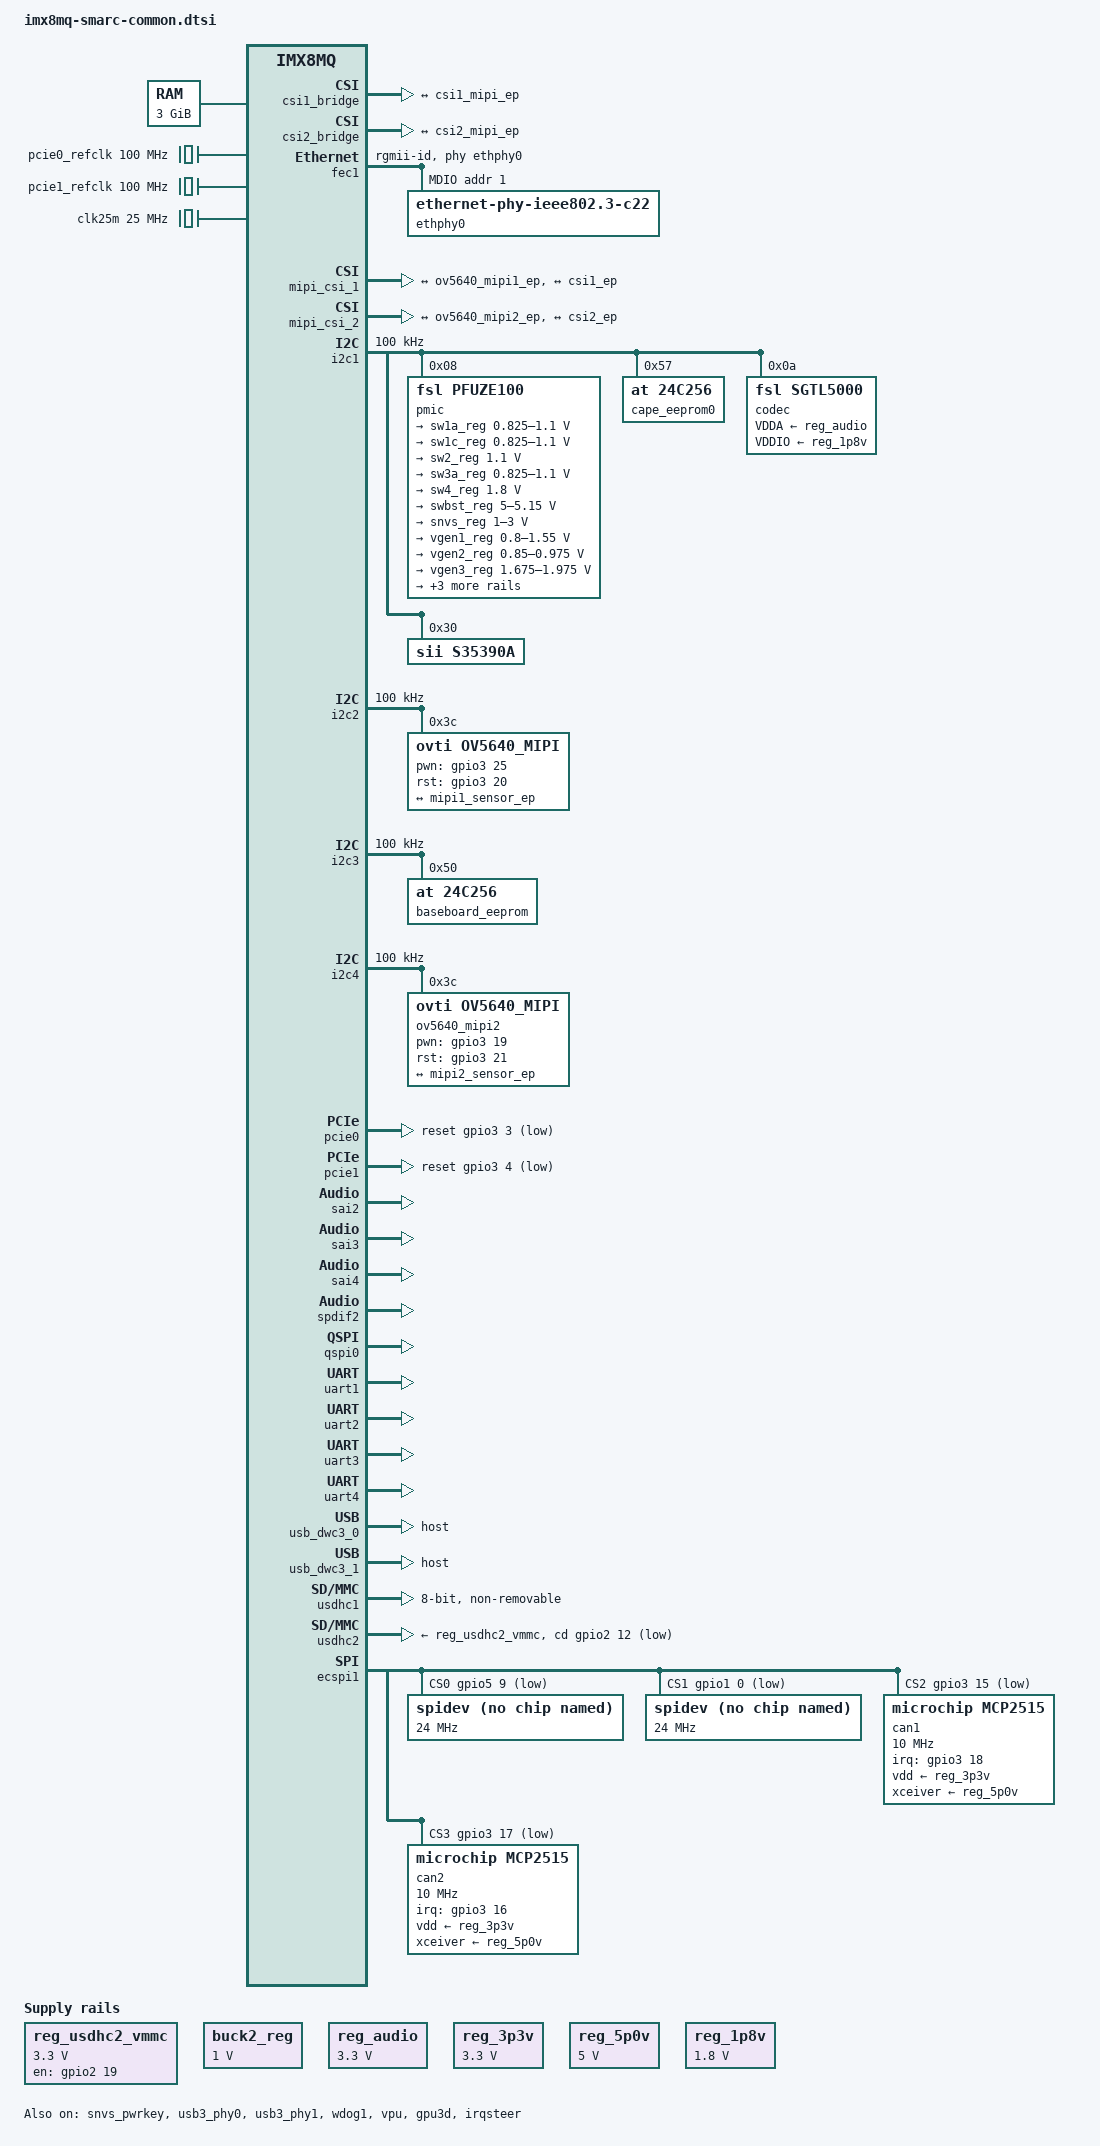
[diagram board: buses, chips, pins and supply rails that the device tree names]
// SPDX-License-Identifier: (GPL-2.0 OR MIT)
/*
 * Copyright 2017 NXP
 * Copyright 2022 Embedian, Inc.
 * Copyright (C) 2017-2018 Pengutronix, Lucas Stach <kernel@pengutronix.de>
 */

/dts-v1/;

#include <dt-bindings/usb/pd.h>
#include "../freescale/imx8mq.dtsi"

/ {
	compatible = "embedian,imx8mq-smarc", "fsl,imx8mq";

	memory@40000000 {
		device_type = "memory";
		reg = <0x00000000 0x40000000 0 0xc0000000>;
	};

	reserved-memory {
		#address-cells = <2>;
		#size-cells = <2>;
		ranges;

		rpmsg_reserved: rpmsg@0xb8000000 {
			no-map;
			reg = <0 0xb8000000 0 0x400000>;
		};
	};

	resmem: reserved-memory {
		#address-cells = <2>;
		#size-cells = <2>;
		ranges;

		/* cma region is provided by kernel command line as cma=<size>M */
	};

	pcie0_refclk: pcie0-refclk {
		compatible = "fixed-clock";
		#clock-cells = <0>;
		clock-frequency = <100000000>;
	};

	pcie1_refclk: pcie0-refclk {
		compatible = "fixed-clock";
		#clock-cells = <0>;
		clock-frequency = <100000000>;
	};

	reg_usdhc2_vmmc: regulator-vsd-3v3 {
		pinctrl-names = "default";
		pinctrl-0 = <&pinctrl_reg_usdhc2>;
		compatible = "regulator-fixed";
		regulator-name = "VSD_3V3";
		regulator-min-microvolt = <3300000>;
		regulator-max-microvolt = <3300000>;
		gpio = <&gpio2 19 GPIO_ACTIVE_HIGH>;
		off-on-delay-us = <20000>;
		enable-active-high;
	};

	buck2_reg: regulator-buck2 {
		pinctrl-names = "default";
		pinctrl-0 = <&pinctrl_buck2>;
		compatible = "regulator-gpio";
		regulator-name = "vdd_arm";
		regulator-min-microvolt = <1000000>;
		regulator-max-microvolt = <1000000>;
		gpios = <&gpio1 13 GPIO_ACTIVE_HIGH>;
		states = <1000000 0x0
			  900000 0x1>;
		regulator-boot-on;
		regulator-always-on;
	};

	reg_audio: audio_vdd {
		compatible = "regulator-fixed";
		regulator-name = "sgtl5000_supply";
		regulator-min-microvolt = <3300000>;
		regulator-max-microvolt = <3300000>;
		regulator-always-on;
	};

	reg_3p3v: 3p3v {
		compatible = "regulator-fixed";
		regulator-name = "3P3V";
		regulator-min-microvolt = <3300000>;
		regulator-max-microvolt = <3300000>;
		regulator-always-on;
	};

	reg_5p0v: 5p0v {
		compatible = "regulator-fixed";
		regulator-name = "5P0V";
		regulator-min-microvolt = <5000000>;
		regulator-max-microvolt = <5000000>;
		regulator-always-on;
	};

	reg_1p8v: 1p8v {
		compatible = "regulator-fixed";
		regulator-name = "1P8V";
		regulator-min-microvolt = <1800000>;
		regulator-max-microvolt = <1800000>;
		regulator-always-on;
	};

	sound-sgtl5000 {
		compatible = "simple-audio-card";
		simple-audio-card,name = "sgtl5000-audio";
		simple-audio-card,format = "i2s";
		simple-audio-card,widgets =
			"Microphone", "Microphone Jack",
			"Headphone", "Headphone Jack",
			"Speaker", "Speaker Ext",
			"Line", "Line In Jack";
		simple-audio-card,routing =
			"MIC_IN", "Microphone Jack",
			"Microphone Jack", "Mic Bias",
			"LINE_IN", "Line In Jack",
			"Headphone Jack", "HP_OUT",
			"Speaker Ext", "LINE_OUT";

		simple-audio-card,cpu {
			sound-dai = <&sai2>;
			frame-master;
			bitclock-master;
		};

		simple-audio-card,codec {
			sound-dai = <&codec>;
			frame-master;
			bitclock-master;
		};
	};

	sound-hdmi {
		compatible = "fsl,imx8mq-evk-cdnhdmi",
				"fsl,imx-audio-cdnhdmi";
		model = "imx-audio-hdmi";
		audio-cpu = <&sai4>;
		protocol = <1>;
		hdmi-out;
		constraint-rate = <44100>,
				<88200>,
				<176400>,
				<32000>,
				<48000>,
				<96000>,
				<192000>;
		status = "disabled";
	};

	sound-hdmi-arc {
		compatible = "fsl,imx-audio-spdif";
		model = "imx-hdmi-arc";
		spdif-controller = <&spdif2>;
		spdif-in;
	};

	backlight: backlight {
		compatible = "pwm-backlight";
		enable-gpios = <&gpio4 0 0>;    /* Backlight Enable */
		pwms = <&pwm1 0 1000000 0>;
		brightness-levels = < 0  1  2  3  4  5  6  7  8  9
				     10 11 12 13 14 15 16 17 18 19
				     20 21 22 23 24 25 26 27 28 29
				     30 31 32 33 34 35 36 37 38 39
				     40 41 42 43 44 45 46 47 48 49
				     50 51 52 53 54 55 56 57 58 59
				     60 61 62 63 64 65 66 67 68 69
				     70 71 72 73 74 75 76 77 78 79
				     80 81 82 83 84 85 86 87 88 89
				     90 91 92 93 94 95 96 97 98 99
				    100>;
		default-brightness-level = <80>;
		status = "disabled";
	};

	/* external oscillator of mcp2515 on SPI1.2 and SPI1.3 */
	clk25m: clock-25m {
		compatible = "fixed-clock";
		#clock-cells = <0>;
		clock-frequency  = <25000000>;
		clock-output-names = "clk25m";
	};
};

&A53_0 {
	cpu-supply = <&buck2_reg>;
};

&A53_1 {
	cpu-supply = <&buck2_reg>;
};

&A53_2 {
	cpu-supply = <&buck2_reg>;
};

&A53_3 {
	cpu-supply = <&buck2_reg>;
};

&csi1_bridge {
	fsl,mipi-mode;
	fsl,two-8bit-sensor-mode;
	status = "okay";

	port {
		csi1_ep: endpoint {
			remote-endpoint = <&csi1_mipi_ep>;
		};
	};
};

&csi2_bridge {
	fsl,mipi-mode;
	fsl,two-8bit-sensor-mode;
	status = "okay";

	port {
		csi2_ep: endpoint {
			remote-endpoint = <&csi2_mipi_ep>;
		};
	};
};

&ddrc {
	operating-points-v2 = <&ddrc_opp_table>;

	ddrc_opp_table: opp-table {
		compatible = "operating-points-v2";

		opp-25M {
			opp-hz = /bits/ 64 <25000000>;
		};

		opp-100M {
			opp-hz = /bits/ 64 <100000000>;
		};

		/*
		 * On imx8mq B0 PLL can't be bypassed so low bus is 166M
		 */
		opp-166M {
			opp-hz = /bits/ 64 <166935483>;
		};

		opp-800M {
			opp-hz = /bits/ 64 <800000000>;
		};
	};
};

&fec1 {
	pinctrl-names = "default";
	pinctrl-0 = <&pinctrl_fec1>;
	phy-mode = "rgmii-id";
	phy-handle = <&ethphy0>;
	fsl,magic-packet;
	status = "okay";

	mdio {
		#address-cells = <1>;
		#size-cells = <0>;

		ethphy0: ethernet-phy@0 {
			compatible = "ethernet-phy-ieee802.3-c22";
			reg = <1>;
			at803x,eee-disabled;
		};
	};
};

&mipi_csi_1 {
	#address-cells = <1>;
	#size-cells = <0>;
	status = "okay";
	port {
		mipi1_sensor_ep: endpoint@0 {
			remote-endpoint = <&ov5640_mipi1_ep>;
			data-lanes = <1 2>;
			bus-type = <4>;
		};

		csi1_mipi_ep: endpoint@1 {
			remote-endpoint = <&csi1_ep>;
		};
	};
};

&mipi_csi_2 {
	#address-cells = <1>;
	#size-cells = <0>;
	status = "okay";
	port {
		mipi2_sensor_ep: endpoint@0 {
			remote-endpoint = <&ov5640_mipi2_ep>;
			data-lanes = <1 2>;
			bus-type = <4>;
		};

		csi2_mipi_ep: endpoint@1 {
			remote-endpoint = <&csi2_ep>;
		};
	};
};

&i2c1 {
	clock-frequency = <100000>;
	pinctrl-names = "default";
	pinctrl-0 = <&pinctrl_i2c1>;
	status = "okay";

	pmic@8 {
		compatible = "fsl,pfuze100";
		fsl,pfuze-support-disable-sw;
		reg = <0x8>;

		regulators {
			sw1a_reg: sw1ab {
				regulator-min-microvolt = <825000>;
				regulator-max-microvolt = <1100000>;
			};

			sw1c_reg: sw1c {
				regulator-min-microvolt = <825000>;
				regulator-max-microvolt = <1100000>;
			};

			sw2_reg: sw2 {
				regulator-min-microvolt = <1100000>;
				regulator-max-microvolt = <1100000>;
				regulator-always-on;
			};

			sw3a_reg: sw3ab {
				regulator-min-microvolt = <825000>;
				regulator-max-microvolt = <1100000>;
				regulator-always-on;
			};

			sw4_reg: sw4 {
				regulator-min-microvolt = <1800000>;
				regulator-max-microvolt = <1800000>;
				regulator-always-on;
			};

			swbst_reg: swbst {
				regulator-min-microvolt = <5000000>;
				regulator-max-microvolt = <5150000>;
			};

			snvs_reg: vsnvs {
				regulator-min-microvolt = <1000000>;
				regulator-max-microvolt = <3000000>;
				regulator-always-on;
			};

			vref_reg: vrefddr {
				regulator-always-on;
			};

			vgen1_reg: vgen1 {
				regulator-min-microvolt = <800000>;
				regulator-max-microvolt = <1550000>;
			};

			vgen2_reg: vgen2 {
				regulator-min-microvolt = <850000>;
				regulator-max-microvolt = <975000>;
				regulator-always-on;
			};

			vgen3_reg: vgen3 {
				regulator-min-microvolt = <1675000>;
				regulator-max-microvolt = <1975000>;
				regulator-always-on;
			};

			vgen4_reg: vgen4 {
				regulator-min-microvolt = <1625000>;
				regulator-max-microvolt = <1875000>;
				regulator-always-on;
			};

			vgen5_reg: vgen5 {
				regulator-min-microvolt = <3075000>;
				regulator-max-microvolt = <3625000>;
				regulator-always-on;
			};

			vgen6_reg: vgen6 {
				regulator-min-microvolt = <1800000>;
				regulator-max-microvolt = <3300000>;
			};
		};
	};

	cape_eeprom0: cape_eeprom@57 {
		compatible = "at,24c256";
		reg = <0x57>;
	};

	codec: sgtl5000@a {
		compatible = "fsl,sgtl5000";
		#sound-dai-cells = <0>;
		reg = <0x0a>;
		clocks = <&clk IMX8MQ_CLK_SAI2_ROOT>;
		clock-names = "mclk";
		VDDA-supply = <&reg_audio>;
		VDDIO-supply = <&reg_1p8v>;
		status = "okay";
	};

	s35390a: s35390a@30 {
		compatible = "sii,s35390a";
		reg = <0x30>;
		status = "okay";
	};
};

&i2c2 {
	clock-frequency = <100000>;
	pinctrl-names = "default";
	pinctrl-0 = <&pinctrl_i2c2>;
	status = "okay";

	dsi_lvds_bridge: sn65dsi84@2c {
		status = "disabled";
		reg = <0x2c>;
		compatible = "ti,sn65dsi84";
		enable-gpios = <&gpio4 28 GPIO_ACTIVE_HIGH>;
		interrupt-parent = <&gpio4>;
		interrupts = <29 IRQ_TYPE_EDGE_FALLING>;

		/* AUO G070VW01 7-inch 800x480 LVDS Display */
		sn65dsi84,addresses = < 0x09 0x0A 0x0B 0x0D 0x10 0x11 0x12 0x13
					0x18 0x19 0x1A 0x1B 0x20 0x21 0x22 0x23
					0x24 0x25 0x26 0x27 0x28 0x29 0x2A 0x2B
					0x2C 0x2D 0x2E 0x2F 0x30 0x31 0x32 0x33
					0x34 0x35 0x36 0x37 0x38 0x39 0x3A 0x3B
					0x3C 0x3D 0x3E 0xE0 0x0D>;

		sn65dsi84,values =    < 0x00 0x01 0x10 0x00 0x26 0x00 0x13 0x00
					0x78 0x00 0x03 0x00 0x20 0x03 0x00 0x00
					0x00 0x00 0x00 0x00 0x21 0x00 0x00 0x00
					0x80 0x00 0x00 0x00 0x0e 0x00 0x00 0x00
					0x40 0x00 0x00 0x00 0x00 0x00 0x00 0x00
					0x00 0x00 0x00 0x01 0x01>;

		/* AUO G185XW01 18.5-inch 1366x768 LVDS Display */
		/*sn65dsi84,addresses = < 0x09 0x0A 0x0B 0x0D 0x10 0x11 0x12 0x13
					0x18 0x19 0x1A 0x1B 0x20 0x21 0x22 0x23
					0x24 0x25 0x26 0x27 0x28 0x29 0x2A 0x2B
					0x2C 0x2D 0x2E 0x2F 0x30 0x31 0x32 0x33
					0x34 0x35 0x36 0x37 0x38 0x39 0x3A 0x3B
					0x3C 0x3D 0x3E 0xE0 0x0D>;

		sn65dsi84,values =    < 0x00 0x05 0x10 0x00 0x26 0x00 0x2E 0x00
					0x78 0x00 0x03 0x00 0x56 0x05 0x00 0x00
					0x00 0x00 0x00 0x00 0x21 0x00 0x00 0x00
					0x78 0x00 0x00 0x00 0x12 0x00 0x00 0x00
					0x3C 0x00 0x00 0x00 0x00 0x00 0x00 0x00
					0x00 0x00 0x00 0x01 0x01>;*/

		/* AUO G240HW01 V0 24-inch 1920x1080 LVDS Display */
		/*sn65dsi84,addresses = < 0x09 0x0A 0x0B 0x0D 0x10 0x11 0x12 0x13
					0x18 0x19 0x1A 0x1B 0x20 0x21 0x22 0x23
					0x24 0x25 0x26 0x27 0x28 0x29 0x2A 0x2B
					0x2C 0x2D 0x2E 0x2F 0x30 0x31 0x32 0x33
					0x34 0x35 0x36 0x37 0x38 0x39 0x3A 0x3B
					0x3C 0x3D 0x3E 0xE0 0x0D>;

		sn65dsi84,values =    < 0x00 0x05 0x20 0x00 0x26 0x00 0x4E 0x00
					0x6C 0x00 0x03 0x00 0x80 0x07 0x00 0x00
					0x00 0x00 0x00 0x00 0xC3 0x00 0x00 0x00
					0x32 0x00 0x00 0x00 0x14 0x00 0x00 0x00
					0x19 0x00 0x00 0x00 0x00 0x00 0x00 0x00
					0x00 0x00 0x00 0x01 0x01>;*/
	};

	ov5640_mipi: ov5640_mipi@3c {
		compatible = "ovti,ov5640_mipi";
		reg = <0x3c>;
		status = "okay";
		pinctrl-names = "default";
		pinctrl-0 = <&pinctrl_csi1>;
		clocks = <&clk IMX8MQ_CLK_CLKO2>;
		clock-names = "csi_mclk";
		assigned-clocks = <&clk IMX8MQ_CLK_CLKO2>;
		assigned-clock-parents = <&clk IMX8MQ_SYS2_PLL_200M>;
		assigned-clock-rates = <20000000>;
		csi_id = <0>;
		pwn-gpios = <&gpio3 25 GPIO_ACTIVE_HIGH>;	/*GPIO0*/
		rst-gpios = <&gpio3 20 GPIO_ACTIVE_HIGH>;	/*GPIO2*/
		mclk = <20000000>;
		mclk_source = <0>;
		port {
			ov5640_mipi1_ep: endpoint {
				remote-endpoint = <&mipi1_sensor_ep>;
			};
		};
	};
};

&i2c3 {
	clock-frequency = <100000>;
	pinctrl-names = "default";
	pinctrl-0 = <&pinctrl_i2c3>;
	status = "okay";

	baseboard_eeprom: baseboard_eeprom@50 {
		compatible = "at,24c256";
		reg = <0x50>;
	};
};

&i2c4 {
	clock-frequency = <100000>;
	pinctrl-names = "default";
	pinctrl-0 = <&pinctrl_i2c4>;
	status = "okay";

	ov5640_mipi2: ov5640_mipi2@3c {
		compatible = "ovti,ov5640_mipi";
		reg = <0x3c>;
		status = "okay";
		pinctrl-names = "default";
		pinctrl-0 = <&pinctrl_csi2>;
		clocks = <&clk IMX8MQ_CLK_CLKO2>;
		clock-names = "csi_mclk";
		assigned-clocks = <&clk IMX8MQ_CLK_CLKO2>;
		assigned-clock-parents = <&clk IMX8MQ_SYS2_PLL_200M>;
		assigned-clock-rates = <20000000>;
		csi_id = <1>;
		pwn-gpios = <&gpio3 19 GPIO_ACTIVE_HIGH>;	/*GPIO1*/
		rst-gpios = <&gpio3 21 GPIO_ACTIVE_HIGH>;	/*GPIO3*/
		mclk = <20000000>;
		mclk_source = <0>;
		port {
			ov5640_mipi2_ep: endpoint {
			remote-endpoint = <&mipi2_sensor_ep>;
			};
		};
	};
};

&pcie0 {
	pinctrl-names = "default";
	pinctrl-0 = <&pinctrl_pcie0>;
	reset-gpio = <&gpio3 3 GPIO_ACTIVE_LOW>;
	clocks = <&clk IMX8MQ_CLK_PCIE1_ROOT>,
		 <&clk IMX8MQ_CLK_PCIE1_AUX>,
		 <&clk IMX8MQ_CLK_PCIE1_PHY>,
		 <&pcie0_refclk>;
	clock-names = "pcie", "pcie_aux", "pcie_phy", "pcie_bus";
	assigned-clocks = <&clk IMX8MQ_CLK_PCIE1_AUX>;
	assigned-clock-rates = <10000000>;
	assigned-clock-parents = <&clk IMX8MQ_SYS2_PLL_50M>;
	hard-wired = <1>;
	status = "okay";
};

&pcie1 {
	pinctrl-names = "default";
	pinctrl-0 = <&pinctrl_pcie1>;
	reset-gpio = <&gpio3 4 GPIO_ACTIVE_LOW>;
	clocks = <&clk IMX8MQ_CLK_PCIE2_ROOT>,
		 <&clk IMX8MQ_CLK_PCIE2_AUX>,
		 <&clk IMX8MQ_CLK_PCIE2_PHY>,
		 <&pcie1_refclk>;
	clock-names = "pcie", "pcie_aux", "pcie_phy", "pcie_bus";
	assigned-clocks = <&clk IMX8MQ_CLK_PCIE2_AUX>;
	assigned-clock-rates = <10000000>;
	assigned-clock-parents = <&clk IMX8MQ_SYS2_PLL_50M>;
	status = "okay";
};

&pgc_gpu {
	power-supply = <&sw1a_reg>;
};

&pgc_vpu {
	power-supply = <&sw1c_reg>;
};



&sai2 {
	pinctrl-names = "default";
	pinctrl-0 = <&pinctrl_sai2>;
	assigned-clocks = <&clk IMX8MQ_CLK_SAI2>;
	assigned-clock-parents = <&clk IMX8MQ_AUDIO_PLL1_OUT>;
	assigned-clock-rates = <24576000>;
	status = "okay";
};

&sai3 {
	#sound-dai-cells = <0>;
	pinctrl-names = "default";
	pinctrl-0 = <&pinctrl_sai3>;
	assigned-clocks = <&clk IMX8MQ_CLK_SAI3>;
	assigned-clock-parents = <&clk IMX8MQ_AUDIO_PLL1_OUT>;
	assigned-clock-rates = <24576000>;
	status = "okay";
};

&sai4 {
	assigned-clocks = <&clk IMX8MQ_CLK_SAI4>;
	assigned-clock-parents = <&clk IMX8MQ_AUDIO_PLL1_OUT>;
	assigned-clock-rates = <24576000>;
	clocks = <&clk IMX8MQ_CLK_SAI4_IPG>, <&clk IMX8MQ_CLK_DUMMY>,
		<&clk IMX8MQ_CLK_SAI4_ROOT>, <&clk IMX8MQ_CLK_DUMMY>,
		<&clk IMX8MQ_CLK_DUMMY>, <&clk IMX8MQ_AUDIO_PLL1_OUT>,
		<&clk IMX8MQ_AUDIO_PLL2_OUT>;
	clock-names = "bus", "mclk0", "mclk1", "mclk2", "mclk3", "pll8k", "pll11k";
	status = "okay";
};

&snvs_pwrkey {
	status = "okay";
};

&spdif2 {
	assigned-clocks = <&clk IMX8MQ_CLK_SPDIF2>;
	assigned-clock-parents = <&clk IMX8MQ_AUDIO_PLL1_OUT>;
	assigned-clock-rates = <24576000>;
	status = "okay";
};

&qspi0 {
	pinctrl-names = "default";
	pinctrl-0 = <&pinctrl_qspi>;
	status = "okay";
};

/* SER3 */
&uart1 {
	pinctrl-names = "default";
	pinctrl-0 = <&pinctrl_uart1>;
	assigned-clocks = <&clk IMX8MQ_CLK_UART1>;
	assigned-clock-parents = <&clk IMX8MQ_CLK_25M>;
	status = "okay";
};

/* SER2 */
&uart2 {
	pinctrl-names = "default";
	pinctrl-0 = <&pinctrl_uart2>;
	assigned-clocks = <&clk IMX8MQ_CLK_UART2>;
	assigned-clock-parents = <&clk IMX8MQ_SYS1_PLL_80M>;
	fsl,uart-has-rtscts;
	status = "okay";
};

/* SER1 */
&uart3 {
	pinctrl-names = "default";
	pinctrl-0 = <&pinctrl_uart3>;
	assigned-clocks = <&clk IMX8MQ_CLK_UART3>;
	assigned-clock-parents = <&clk IMX8MQ_CLK_25M>;
	status = "okay";
};

/* SER0 */
&uart4 {
	pinctrl-names = "default";
	pinctrl-0 = <&pinctrl_uart4>;
	assigned-clocks = <&clk IMX8MQ_CLK_UART4>;
	assigned-clock-parents = <&clk IMX8MQ_SYS1_PLL_80M>;
	fsl,uart-has-rtscts;
	status = "okay";
};

&usb3_phy0 {
	status = "okay";
};

&usb_dwc3_0 {
	dr_mode = "host";
	status = "okay";
};

&usb3_phy1 {
	status = "okay";
};

&usb_dwc3_1 {
	dr_mode = "host";
	status = "okay";
};

/* eMMC */
&usdhc1 {
	assigned-clocks = <&clk IMX8MQ_CLK_USDHC1>;
	assigned-clock-rates = <400000000>;
	pinctrl-names = "default", "state_100mhz", "state_200mhz";
	pinctrl-0 = <&pinctrl_usdhc1>;
	pinctrl-1 = <&pinctrl_usdhc1_100mhz>;
	pinctrl-2 = <&pinctrl_usdhc1_200mhz>;
	vqmmc-supply = <&sw4_reg>;
	bus-width = <8>;
	non-removable;
	no-sd;
	no-sdio;
	status = "okay";
};

/* SD card */
&usdhc2 {
	assigned-clocks = <&clk IMX8MQ_CLK_USDHC2>;
	assigned-clock-rates = <200000000>;
	pinctrl-names = "default";
	pinctrl-0 = <&pinctrl_usdhc2>;
	cd-gpios = <&gpio2 12 GPIO_ACTIVE_LOW>;
	vmmc-supply = <&reg_usdhc2_vmmc>;
	status = "okay";
};

&ecspi1 {
	pinctrl-names = "default";
	pinctrl-0 = <&pinctrl_ecspi1>;
	cs-gpios = <&gpio5 9 GPIO_ACTIVE_LOW>,
		   <&gpio1 0 GPIO_ACTIVE_LOW>,
		   <&gpio3 15 GPIO_ACTIVE_LOW>,
		   <&gpio3 17 GPIO_ACTIVE_LOW>;
	fsl,spi-num-chipselects = <4>;
	status = "okay";

	spidev@0 {
		compatible = "rohm,dh2228fv";
		reg = <0>;
		spi-max-frequency = <24000000>;
	};

	spidev@1 {
		compatible = "rohm,dh2228fv";
		reg = <1>;
		spi-max-frequency = <24000000>;
	};

	can1: can@2 {
		compatible = "microchip,mcp2515";
		reg = <2>;
		pinctrl-names = "default";
		pinctrl-0 = <&pinctrl_can1>;
		interrupt-parent = <&gpio3>;
		interrupts = <18 IRQ_TYPE_EDGE_FALLING>;
		spi-max-frequency = <10000000>;
		clocks = <&clk25m>;
		vdd-supply = <&reg_3p3v>;
		xceiver-supply = <&reg_5p0v>;
		status = "okay";
	};

	can2: can@3 {
		compatible = "microchip,mcp2515";
		reg = <3>;
		pinctrl-names = "default";
		pinctrl-0 = <&pinctrl_can2>;
		interrupt-parent = <&gpio3>;
		interrupts = <16 IRQ_TYPE_EDGE_FALLING>;
		spi-max-frequency = <10000000>;
		clocks = <&clk25m>;
		vdd-supply = <&reg_3p3v>;
		xceiver-supply = <&reg_5p0v>;
		status = "okay";
	};
};

&pwm1 {
	pinctrl-names = "default";
	pinctrl-0 = <&pinctrl_pwm1>;
};

&wdog1 {
	pinctrl-names = "default";
	pinctrl-0 = <&pinctrl_wdog>;
	fsl,ext-reset-output;
	status = "okay";
};

&iomuxc {
	pinctrl-names = "default";
	pinctrl-0 = <&pinctrl_hog>;

	pinctrl_hog: hoggrp {
		fsl,pins = <
			MX8MQ_IOMUXC_GPIO1_IO03_GPIO1_IO3		0x19	/*RESET_OUT#*/
			MX8MQ_IOMUXC_GPIO1_IO11_GPIO1_IO11		0x41	/*FEC_IRQ#*/
			MX8MQ_IOMUXC_NAND_CLE_GPIO3_IO5			0x41	/*PCIE_WAKE#*/
			MX8MQ_IOMUXC_GPIO1_IO09_GPIO1_IO9		0x41	/*LID#*/
			MX8MQ_IOMUXC_GPIO1_IO12_GPIO1_IO12		0x41	/*SLEEP#*/
			MX8MQ_IOMUXC_NAND_DATA05_GPIO3_IO11		0x41	/*CHARGING#*/
			MX8MQ_IOMUXC_SAI2_RXC_GPIO4_IO22		0x41	/*CHARGER_PRSNT#*/
			MX8MQ_IOMUXC_SAI3_MCLK_GPIO5_IO2		0x19	/*CARRIER_STBY#*/
			MX8MQ_IOMUXC_SAI2_RXFS_GPIO4_IO21		0x41	/*BATLOW#*/
			MX8MQ_IOMUXC_NAND_DATA04_GPIO3_IO10		0x41	/*USB0_EN_OC#*/
			MX8MQ_IOMUXC_NAND_DATA06_GPIO3_IO12		0x41	/*USB2_EN_OC#*/
			MX8MQ_IOMUXC_NAND_DATA07_GPIO3_IO13		0x41	/*USB3_EN_OC#*/
		>;
	};

	pinctrl_buck2: vddarmgrp {
		fsl,pins = <
			MX8MQ_IOMUXC_GPIO1_IO13_GPIO1_IO13		0x19
		>;

	};

	pinctrl_csi1_pwn: csi1_pwn_grp {
		fsl,pins = <
			MX8MQ_IOMUXC_GPIO1_IO03_GPIO1_IO3		0x19
		>;
	};
	pinctrl_csi2_pwn: csi2_pwn_grp {
		fsl,pins = <
			MX8MQ_IOMUXC_GPIO1_IO05_GPIO1_IO5		0x19
		>;
	};

	pinctrl_csi_rst: csi_rst_grp {
		fsl,pins = <
			MX8MQ_IOMUXC_GPIO1_IO06_GPIO1_IO6		0x19
			MX8MQ_IOMUXC_GPIO1_IO15_CCMSRCGPCMIX_CLKO2	0x59
		>;
	};

	pinctrl_csi1: csi1grp {
		fsl,pins = <
			MX8MQ_IOMUXC_SAI5_MCLK_GPIO3_IO25		0x19	/*GPIO0*/
			MX8MQ_IOMUXC_SAI5_RXC_GPIO3_IO20		0x19	/*GPIO2*/
			MX8MQ_IOMUXC_GPIO1_IO15_CCMSRCGPCMIX_CLKO2	0x59
		>;
	};

	pinctrl_csi2: csi2grp {
		fsl,pins = <
			MX8MQ_IOMUXC_SAI5_RXFS_GPIO3_IO19		0x19	/*GPIO1*/
			MX8MQ_IOMUXC_SAI5_RXD0_GPIO3_IO21		0x19	/*GPIO3*/
			MX8MQ_IOMUXC_GPIO1_IO15_CCMSRCGPCMIX_CLKO2	0x59
		>;
	};

	pinctrl_fec1: fec1grp {
		fsl,pins = <
			MX8MQ_IOMUXC_ENET_MDC_ENET1_MDC			0x3
			MX8MQ_IOMUXC_ENET_MDIO_ENET1_MDIO		0x23
			MX8MQ_IOMUXC_ENET_TD3_ENET1_RGMII_TD3		0x1f
			MX8MQ_IOMUXC_ENET_TD2_ENET1_RGMII_TD2		0x1f
			MX8MQ_IOMUXC_ENET_TD1_ENET1_RGMII_TD1		0x1f
			MX8MQ_IOMUXC_ENET_TD0_ENET1_RGMII_TD0		0x1f
			MX8MQ_IOMUXC_ENET_RD3_ENET1_RGMII_RD3		0x91
			MX8MQ_IOMUXC_ENET_RD2_ENET1_RGMII_RD2		0x91
			MX8MQ_IOMUXC_ENET_RD1_ENET1_RGMII_RD1		0x91
			MX8MQ_IOMUXC_ENET_RD0_ENET1_RGMII_RD0		0x91
			MX8MQ_IOMUXC_ENET_TXC_ENET1_RGMII_TXC		0x1f
			MX8MQ_IOMUXC_ENET_RXC_ENET1_RGMII_RXC		0x91
			MX8MQ_IOMUXC_ENET_RX_CTL_ENET1_RGMII_RX_CTL	0x91
			MX8MQ_IOMUXC_ENET_TX_CTL_ENET1_RGMII_TX_CTL	0x1f
		>;
	};

	pinctrl_i2c1: i2c1grp {
		fsl,pins = <
			MX8MQ_IOMUXC_I2C1_SCL_I2C1_SCL			0x4000007f
			MX8MQ_IOMUXC_I2C1_SDA_I2C1_SDA			0x4000007f
		>;
	};

	pinctrl_ir: irgrp {
		fsl,pins = <
			MX8MQ_IOMUXC_GPIO1_IO12_GPIO1_IO12		0x4f
		>;
	};

	pinctrl_i2c3: i2c3grp {
		fsl,pins = <
			MX8MQ_IOMUXC_I2C3_SCL_I2C3_SCL			0x4000007f
			MX8MQ_IOMUXC_I2C3_SDA_I2C3_SDA			0x4000007f
		>;
	};

	pinctrl_i2c1_dsi_ts_int: dsi_ts_int {
		fsl,pins = <
			MX8MQ_IOMUXC_ECSPI1_MOSI_GPIO5_IO7		0x19
		>;
	};

	pinctrl_i2c2: i2c2grp {
		fsl,pins = <
			MX8MQ_IOMUXC_I2C2_SCL_I2C2_SCL			0x40000067
			MX8MQ_IOMUXC_I2C2_SDA_I2C2_SDA			0x40000067
		>;
	};

	pinctrl_i2c4: i2c4grp {
		fsl,pins = <
			MX8MQ_IOMUXC_I2C4_SCL_I2C4_SCL			0x4000007f
			MX8MQ_IOMUXC_I2C4_SDA_I2C4_SDA			0x4000007f
		>;
	};

	pinctrl_i2c1_gpio: i2c1grp-gpio {
		fsl,pins = <
			MX8MQ_IOMUXC_I2C1_SCL_GPIO5_IO14		0x7f
			MX8MQ_IOMUXC_I2C1_SDA_GPIO5_IO15		0x7f
		>;
	};

	pinctrl_i2c2_gpio: i2c2grp-gpio {
		fsl,pins = <
			MX8MQ_IOMUXC_I2C2_SCL_GPIO5_IO16		0x7f
			MX8MQ_IOMUXC_I2C2_SDA_GPIO5_IO17		0x7f
		>;
	};

	pinctrl_i2c3_gpio: i2c3grp-gpio {
		fsl,pins = <
			MX8MQ_IOMUXC_I2C3_SCL_GPIO5_IO18		0x7f
			MX8MQ_IOMUXC_I2C3_SDA_GPIO5_IO19		0x7f
		>;
	};

	pinctrl_i2c4_gpio: i2c4grp-gpio {
		fsl,pins = <
			MX8MQ_IOMUXC_I2C4_SCL_GPIO5_IO20		0x7f
			MX8MQ_IOMUXC_I2C4_SDA_GPIO5_IO21		0x7f
		>;
	};

	pinctrl_pcie0: pcie0grp {
		fsl,pins = <
			MX8MQ_IOMUXC_NAND_CE2_B_GPIO3_IO3		0x16
		>;
	};

	pinctrl_pcie1: pcie1grp {
		fsl,pins = <
			MX8MQ_IOMUXC_NAND_CE3_B_GPIO3_IO4		0x16
		>;
	};

	pinctrl_qspi: qspigrp {
		fsl,pins = <
			MX8MQ_IOMUXC_NAND_ALE_QSPI_A_SCLK		0x82
			MX8MQ_IOMUXC_NAND_CE0_B_QSPI_A_SS0_B		0x82
			MX8MQ_IOMUXC_NAND_DATA00_QSPI_A_DATA0		0x82
			MX8MQ_IOMUXC_NAND_DATA01_QSPI_A_DATA1		0x82
			MX8MQ_IOMUXC_NAND_DATA02_QSPI_A_DATA2		0x82
			MX8MQ_IOMUXC_NAND_DATA03_QSPI_A_DATA3		0x82
		>;
	};

	pinctrl_reg_usdhc2: regusdhc2gpiogrp {
		fsl,pins = <
			MX8MQ_IOMUXC_SD2_RESET_B_GPIO2_IO19		0x41
		>;
	};

	pinctrl_sai2: sai2grp {
		fsl,pins = <
			MX8MQ_IOMUXC_SAI2_TXFS_SAI2_TX_SYNC		0xd6
			MX8MQ_IOMUXC_SAI2_TXC_SAI2_TX_BCLK		0xd6
			MX8MQ_IOMUXC_SAI2_MCLK_SAI2_MCLK		0xd6
			MX8MQ_IOMUXC_SAI2_TXD0_SAI2_TX_DATA0		0xd6
		>;
	};

	pinctrl_sai3: sai3grp {
		fsl,pins = <
			MX8MQ_IOMUXC_SAI3_TXFS_SAI3_TX_SYNC     0xd6
			MX8MQ_IOMUXC_SAI3_TXC_SAI3_TX_BCLK      0xd6
			MX8MQ_IOMUXC_SAI3_TXD_SAI3_TX_DATA0	0xd6
			MX8MQ_IOMUXC_SAI3_RXD_SAI3_RX_DATA0	0xd6
		>;
	};

	pinctrl_sai1_pcm: sai1grp_pcm {
		fsl,pins = <
			MX8MQ_IOMUXC_SAI1_MCLK_SAI1_MCLK		0xd6
			MX8MQ_IOMUXC_SAI1_TXFS_SAI1_TX_SYNC		0xd6
			MX8MQ_IOMUXC_SAI1_RXD7_SAI1_TX_SYNC		0xd6
			MX8MQ_IOMUXC_SAI1_TXC_SAI1_TX_BCLK		0xd6
			MX8MQ_IOMUXC_SAI1_TXD0_SAI1_TX_DATA0		0xd6
			MX8MQ_IOMUXC_SAI1_TXD1_SAI1_TX_DATA1		0xd6
			MX8MQ_IOMUXC_SAI1_TXD2_SAI1_TX_DATA2		0xd6
			MX8MQ_IOMUXC_SAI1_TXD3_SAI1_TX_DATA3		0xd6
			MX8MQ_IOMUXC_SAI1_TXD4_SAI1_TX_DATA4		0xd6
			MX8MQ_IOMUXC_SAI1_TXD5_SAI1_TX_DATA5		0xd6
			MX8MQ_IOMUXC_SAI1_TXD6_SAI1_TX_DATA6		0xd6
			MX8MQ_IOMUXC_SAI1_TXD7_SAI1_TX_DATA7		0xd6
		>;
	};

	pinctrl_sai1_pcm_b2m: sai1grp_pcm_b2m {
		fsl,pins = <
			MX8MQ_IOMUXC_SAI1_MCLK_SAI1_TX_BCLK		0xd6
			MX8MQ_IOMUXC_SAI1_TXFS_SAI1_TX_SYNC		0xd6
			MX8MQ_IOMUXC_SAI1_RXD7_SAI1_TX_SYNC		0xd6
			MX8MQ_IOMUXC_SAI1_TXC_SAI1_TX_BCLK		0xd6
			MX8MQ_IOMUXC_SAI1_TXD0_SAI1_TX_DATA0		0xd6
			MX8MQ_IOMUXC_SAI1_TXD1_SAI1_TX_DATA1		0xd6
			MX8MQ_IOMUXC_SAI1_TXD2_SAI1_TX_DATA2		0xd6
			MX8MQ_IOMUXC_SAI1_TXD3_SAI1_TX_DATA3		0xd6
			MX8MQ_IOMUXC_SAI1_TXD4_SAI1_TX_DATA4		0xd6
			MX8MQ_IOMUXC_SAI1_TXD5_SAI1_TX_DATA5		0xd6
			MX8MQ_IOMUXC_SAI1_TXD6_SAI1_TX_DATA6		0xd6
			MX8MQ_IOMUXC_SAI1_TXD7_SAI1_TX_DATA7		0xd6
		>;
	};

	pinctrl_sai1_dsd: sai1grp_dsd {
		fsl,pins = <
			MX8MQ_IOMUXC_SAI1_MCLK_SAI1_MCLK		0xd6
			MX8MQ_IOMUXC_SAI1_TXFS_SAI1_TX_SYNC		0xd6
			MX8MQ_IOMUXC_SAI1_RXD7_SAI1_TX_DATA4		0xd6
			MX8MQ_IOMUXC_SAI1_TXC_SAI1_TX_BCLK		0xd6
			MX8MQ_IOMUXC_SAI1_TXD0_SAI1_TX_DATA0		0xd6
			MX8MQ_IOMUXC_SAI1_TXD1_SAI1_TX_DATA1		0xd6
			MX8MQ_IOMUXC_SAI1_TXD2_SAI1_TX_DATA2		0xd6
			MX8MQ_IOMUXC_SAI1_TXD3_SAI1_TX_DATA3		0xd6
			MX8MQ_IOMUXC_SAI1_TXD4_SAI1_TX_DATA4		0xd6
			MX8MQ_IOMUXC_SAI1_TXD5_SAI1_TX_DATA5		0xd6
			MX8MQ_IOMUXC_SAI1_TXD6_SAI1_TX_DATA6		0xd6
			MX8MQ_IOMUXC_SAI1_TXD7_SAI1_TX_DATA7		0xd6
		>;
	};

	pinctrl_sai5: sai5grp {
		fsl,pins = <
			MX8MQ_IOMUXC_SAI5_MCLK_SAI5_MCLK	0xd6
			MX8MQ_IOMUXC_SAI5_RXC_SAI5_RX_BCLK	0xd6
			MX8MQ_IOMUXC_SAI5_RXFS_SAI5_RX_SYNC	0xd6
			MX8MQ_IOMUXC_SAI5_RXD0_SAI5_RX_DATA0	0xd6
			MX8MQ_IOMUXC_SAI5_RXD1_SAI5_RX_DATA1    0xd6
			MX8MQ_IOMUXC_SAI5_RXD2_SAI5_RX_DATA2    0xd6
			MX8MQ_IOMUXC_SAI5_RXD3_SAI5_RX_DATA3    0xd6
		>;
	};

	pinctrl_spdif1: spdif1grp {
		fsl,pins = <
			MX8MQ_IOMUXC_SPDIF_TX_SPDIF1_OUT	0xd6
			MX8MQ_IOMUXC_SPDIF_RX_SPDIF1_IN		0xd6
		>;
	};

	pinctrl_ss_sel: usb3ssgrp{
		fsl,pins = <
			MX8MQ_IOMUXC_NAND_RE_B_GPIO3_IO15		0x16
		>;
	};

	pinctrl_typec: typecgrp {
		fsl,pins = <
			MX8MQ_IOMUXC_NAND_CE2_B_GPIO3_IO3		0x17059
		>;
	};

	pinctrl_uart1: uart1grp {
		fsl,pins = <
			MX8MQ_IOMUXC_UART1_RXD_UART1_DCE_RX		0x49
			MX8MQ_IOMUXC_UART1_TXD_UART1_DCE_TX		0x49
		>;
	};

	pinctrl_uart2: uart2grp {
		fsl,pins = <
			MX8MQ_IOMUXC_UART2_RXD_UART2_DCE_RX		0x49
			MX8MQ_IOMUXC_UART2_TXD_UART2_DCE_TX		0x49
			MX8MQ_IOMUXC_UART4_TXD_UART2_DCE_RTS_B		0x49
			MX8MQ_IOMUXC_UART4_RXD_UART2_DCE_CTS_B		0x49
		>;
	};

	pinctrl_uart3: uart3grp {
		fsl,pins = <
			MX8MQ_IOMUXC_UART3_TXD_UART3_DCE_TX		0x49
			MX8MQ_IOMUXC_UART3_RXD_UART3_DCE_RX		0x49
		>;
	};

	pinctrl_uart4: uart4grp {
		fsl,pins = <
			MX8MQ_IOMUXC_ECSPI2_SCLK_UART4_DCE_RX		0x49
			MX8MQ_IOMUXC_ECSPI2_MOSI_UART4_DCE_TX		0x49
			MX8MQ_IOMUXC_ECSPI2_MISO_UART4_DCE_CTS_B	0x49
			MX8MQ_IOMUXC_ECSPI2_SS0_UART4_DCE_RTS_B		0x49
		>;
	};

	pinctrl_usdhc1: usdhc1grp {
		fsl,pins = <
			MX8MQ_IOMUXC_SD1_CLK_USDHC1_CLK			0x83
			MX8MQ_IOMUXC_SD1_CMD_USDHC1_CMD			0xc3
			MX8MQ_IOMUXC_SD1_DATA0_USDHC1_DATA0		0xc3
			MX8MQ_IOMUXC_SD1_DATA1_USDHC1_DATA1		0xc3
			MX8MQ_IOMUXC_SD1_DATA2_USDHC1_DATA2		0xc3
			MX8MQ_IOMUXC_SD1_DATA3_USDHC1_DATA3		0xc3
			MX8MQ_IOMUXC_SD1_DATA4_USDHC1_DATA4		0xc3
			MX8MQ_IOMUXC_SD1_DATA5_USDHC1_DATA5		0xc3
			MX8MQ_IOMUXC_SD1_DATA6_USDHC1_DATA6		0xc3
			MX8MQ_IOMUXC_SD1_DATA7_USDHC1_DATA7		0xc3
			MX8MQ_IOMUXC_SD1_STROBE_USDHC1_STROBE		0x83
			MX8MQ_IOMUXC_SD1_RESET_B_USDHC1_RESET_B		0xc1
		>;
	};

	pinctrl_usdhc1_100mhz: usdhc1-100grp {
		fsl,pins = <
			MX8MQ_IOMUXC_SD1_CLK_USDHC1_CLK			0x8d
			MX8MQ_IOMUXC_SD1_CMD_USDHC1_CMD			0xcd
			MX8MQ_IOMUXC_SD1_DATA0_USDHC1_DATA0		0xcd
			MX8MQ_IOMUXC_SD1_DATA1_USDHC1_DATA1		0xcd
			MX8MQ_IOMUXC_SD1_DATA2_USDHC1_DATA2		0xcd
			MX8MQ_IOMUXC_SD1_DATA3_USDHC1_DATA3		0xcd
			MX8MQ_IOMUXC_SD1_DATA4_USDHC1_DATA4		0xcd
			MX8MQ_IOMUXC_SD1_DATA5_USDHC1_DATA5		0xcd
			MX8MQ_IOMUXC_SD1_DATA6_USDHC1_DATA6		0xcd
			MX8MQ_IOMUXC_SD1_DATA7_USDHC1_DATA7		0xcd
			MX8MQ_IOMUXC_SD1_STROBE_USDHC1_STROBE		0x8d
			MX8MQ_IOMUXC_SD1_RESET_B_USDHC1_RESET_B		0xc1
		>;
	};

	pinctrl_usdhc1_200mhz: usdhc1-200grp {
		fsl,pins = <
			MX8MQ_IOMUXC_SD1_CLK_USDHC1_CLK			0x9f
			MX8MQ_IOMUXC_SD1_CMD_USDHC1_CMD			0xdf
			MX8MQ_IOMUXC_SD1_DATA0_USDHC1_DATA0		0xdf
			MX8MQ_IOMUXC_SD1_DATA1_USDHC1_DATA1		0xdf
			MX8MQ_IOMUXC_SD1_DATA2_USDHC1_DATA2		0xdf
			MX8MQ_IOMUXC_SD1_DATA3_USDHC1_DATA3		0xdf
			MX8MQ_IOMUXC_SD1_DATA4_USDHC1_DATA4		0xdf
			MX8MQ_IOMUXC_SD1_DATA5_USDHC1_DATA5		0xdf
			MX8MQ_IOMUXC_SD1_DATA6_USDHC1_DATA6		0xdf
			MX8MQ_IOMUXC_SD1_DATA7_USDHC1_DATA7		0xdf
			MX8MQ_IOMUXC_SD1_STROBE_USDHC1_STROBE		0x9f
			MX8MQ_IOMUXC_SD1_RESET_B_USDHC1_RESET_B		0xc1
		>;
	};

	pinctrl_usdhc2: usdhc2grp {
		fsl,pins = <
			MX8MQ_IOMUXC_SD2_CLK_USDHC2_CLK			0x83
			MX8MQ_IOMUXC_SD2_CMD_USDHC2_CMD			0xc3
			MX8MQ_IOMUXC_SD2_DATA0_USDHC2_DATA0		0xc3
			MX8MQ_IOMUXC_SD2_DATA1_USDHC2_DATA1		0xc3
			MX8MQ_IOMUXC_SD2_DATA2_USDHC2_DATA2		0xc3
			MX8MQ_IOMUXC_SD2_DATA3_USDHC2_DATA3		0xc3
			MX8MQ_IOMUXC_GPIO1_IO04_USDHC2_VSELECT		0xc1
		>;
	};

	pinctrl_usdhc2_100mhz: usdhc2-100grp {
		fsl,pins = <
			MX8MQ_IOMUXC_SD2_CLK_USDHC2_CLK			0x85
			MX8MQ_IOMUXC_SD2_CMD_USDHC2_CMD			0xc5
			MX8MQ_IOMUXC_SD2_DATA0_USDHC2_DATA0		0xc5
			MX8MQ_IOMUXC_SD2_DATA1_USDHC2_DATA1		0xc5
			MX8MQ_IOMUXC_SD2_DATA2_USDHC2_DATA2		0xc5
			MX8MQ_IOMUXC_SD2_DATA3_USDHC2_DATA3		0xc5
			MX8MQ_IOMUXC_GPIO1_IO04_USDHC2_VSELECT		0xc1
		>;
	};

	pinctrl_usdhc2_200mhz: usdhc2-200grp {
		fsl,pins = <
			MX8MQ_IOMUXC_SD2_CLK_USDHC2_CLK			0x87
			MX8MQ_IOMUXC_SD2_CMD_USDHC2_CMD			0xc7
			MX8MQ_IOMUXC_SD2_DATA0_USDHC2_DATA0		0xc7
			MX8MQ_IOMUXC_SD2_DATA1_USDHC2_DATA1		0xc7
			MX8MQ_IOMUXC_SD2_DATA2_USDHC2_DATA2		0xc7
			MX8MQ_IOMUXC_SD2_DATA3_USDHC2_DATA3		0xc7
			MX8MQ_IOMUXC_GPIO1_IO04_USDHC2_VSELECT		0xc1
		>;
	};

	pinctrl_wdog: wdog1grp {
		fsl,pins = <
			MX8MQ_IOMUXC_GPIO1_IO02_WDOG1_WDOG_B		0xc6
		>;
	};

	pinctrl_pwm1: pwm1grp {
		fsl,pins = <
			MX8MQ_IOMUXC_SPDIF_EXT_CLK_PWM1_OUT		0x06
		>;
	};

	pinctrl_ecspi1: ecspi1grp {
		fsl,pins = <
			MX8MQ_IOMUXC_ECSPI1_SCLK_ECSPI1_SCLK		0x16
			MX8MQ_IOMUXC_ECSPI1_MOSI_ECSPI1_MOSI		0x16
			MX8MQ_IOMUXC_ECSPI1_MISO_ECSPI1_MISO		0x16
			MX8MQ_IOMUXC_ECSPI1_SS0_GPIO5_IO9		0x16
			MX8MQ_IOMUXC_GPIO1_IO00_GPIO1_IO0		0x16
			MX8MQ_IOMUXC_NAND_RE_B_GPIO3_IO15		0x16
			MX8MQ_IOMUXC_NAND_WE_B_GPIO3_IO17		0x16
		>;
	};

	pinctrl_can1: can1grp {
		fsl,pins = <
			MX8MQ_IOMUXC_NAND_WP_B_GPIO3_IO18		0x41	/*CAN0_INT#*/
		>;
	};

	pinctrl_can2: can2grp {
		fsl,pins = <
			MX8MQ_IOMUXC_NAND_READY_B_GPIO3_IO16		0x41	/*CAN1_INT#*/
		>;
	};

	pinctrl_wifi_reset: wifiresetgrp {
		fsl,pins = <
			MX8MQ_IOMUXC_UART4_TXD_GPIO5_IO29		0x16
		>;
	};

	pinctrl_lvds: lvdsgrp {
		fsl,pins = <
			MX8MQ_IOMUXC_SAI1_RXD0_GPIO4_IO2		0x16
		>;
	};

	pinctrl_hdmi: hdmigrp {
		fsl,pins = <
			MX8MQ_IOMUXC_GPIO1_IO01_GPIO1_IO1		0xc1
		>;
	};
};

&vpu {
	status = "okay";
};

&gpu3d {
	status = "okay";
};

&irqsteer {
	status = "okay";
};

